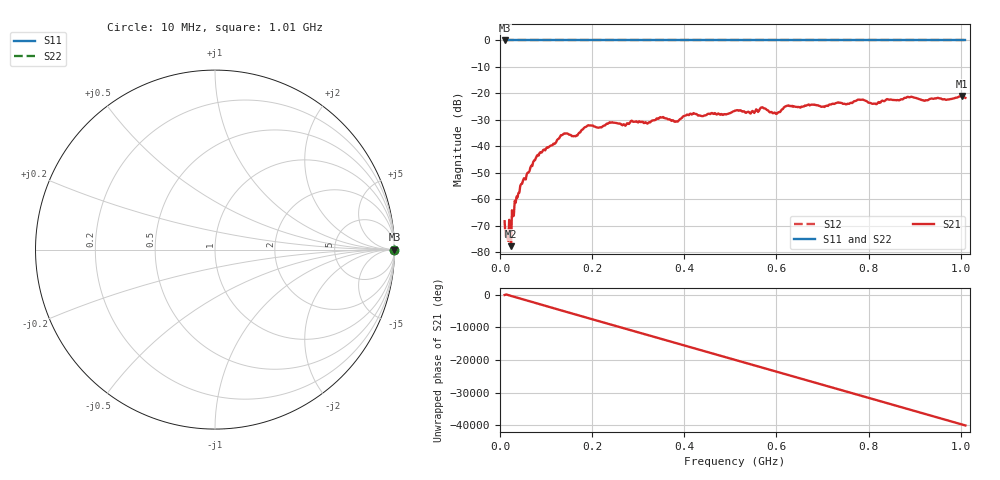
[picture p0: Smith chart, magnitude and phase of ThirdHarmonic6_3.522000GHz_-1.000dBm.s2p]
! 8/17/2025 11:33:22 AM
! C:\ANRITSUVNA\TEMP\TEMP.S2P
! CHANNEL.1
! TR.MEASUREMENT
! RAW.DATA
! RF.CORRECTION.OFF
! AVERAGING.OFF
! IF.BANDWIDTH: 5KHZ
! SWEEPTYPE:  FREQ.SWEEP(Linear)
! Reference Plane Port Info
! PORT:  PORT1  PORT2
! DISTANCE:  0  m  0  m
! TIME:  0  s  0  s
! PHASE.OFFSET:  0  deg.  0  deg.
! LOSS:  0  dB  0  dB
! REF.LOSS:  0  dB  0  dB
! REF.FREQ:  0  Hz  0  Hz
! Power Info
! POWER:  -20  dBm  -20  dBm
! EFF.POWER:  -20  dBm  -20  dBm
! SOURCE.ATTEN:  0  dB  0  dB
! TEST.ATTEN:  0  dB  0  dB
# GHZ S RI R 50.0
! FREQ.GHZ  S11RE  S11IM  S21RE  S21IM  S12RE  S12IM  S22RE  S22IM
!; PortSelection: Port_12
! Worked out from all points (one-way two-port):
!   501 points, 10 MHz to 1.01 GHz, reference 50 ohm
!   highest |S21| = -21.01 dB at 1.002 GHz (marker M1); lowest = -77.8 dB at 24 MHz (marker M2)
!   lowest |S11| = 0.0 dB at 10 MHz (marker M3)
!   |S11| at or under -10 dB: nowhere
!   |S22| runs from 0.0 to 0.0 dB; largest |S21 - S12| = 1.1
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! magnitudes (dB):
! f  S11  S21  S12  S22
! 10 MHz  0.0  -68.3  0.0  0.0
! 14 MHz  0.0  -73.5  0.0  0.0
! 20 MHz  0.0  -67.8  0.0  0.0
! 24 MHz  0.0  -77.8  0.0  0.0
! 26 MHz  0.0  -64.2  0.0  0.0
! 36 MHz  0.0  -59.0  0.0  0.0
! 48 MHz  0.0  -54.2  0.0  0.0
! 78 MHz  0.0  -44.4  0.0  0.0
! 136 MHz  0.0  -35.7  0.0  0.0
! 164 MHz  0.0  -36.2  0.0  0.0
! 178 MHz  0.0  -33.8  0.0  0.0
! 344 MHz  0.0  -29.6  0.0  0.0
! 382 MHz  0.0  -30.6  0.0  0.0
! 416 MHz  0.0  -28.0  0.0  0.0
! 510 MHz  0.0  -26.6  0.0  0.0
! 570 MHz  0.0  -25.3  0.0  0.0
! 598 MHz  0.0  -27.6  0.0  0.0
! 622 MHz  0.0  -24.7  0.0  0.0
! 678 MHz  0.0  -24.3  0.0  0.0
! 844 MHz  0.0  -22.4  0.0  0.0
! 1.002 GHz  0.0  -21.0  0.0  0.0
! 1.01 GHz  0.0  -21.7  0.0  0.0
